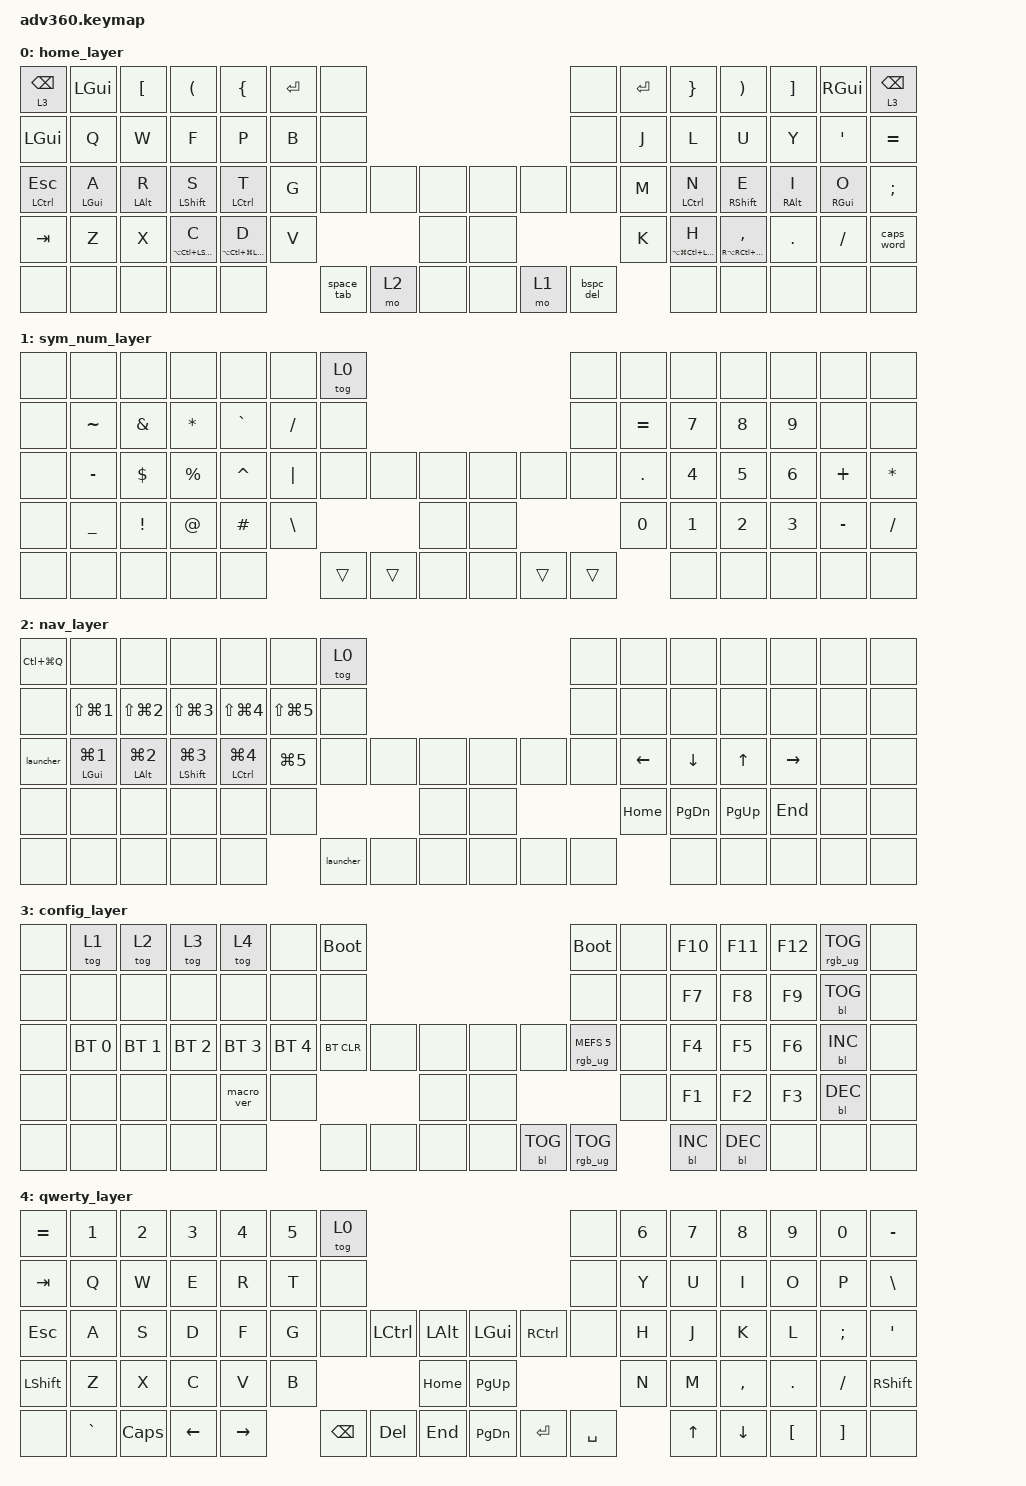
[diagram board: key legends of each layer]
#include <behaviors.dtsi>
#include <dt-bindings/zmk/backlight.h>
#include <dt-bindings/zmk/bt.h>
#include <dt-bindings/zmk/keys.h>
#include <dt-bindings/zmk/rgb.h>

/ {
    behaviors {
        #include "macros.dtsi"
      #include "version.dtsi"

        hm: homerow_mods {
            compatible = "zmk,behavior-hold-tap";
            label = "HOMEROW_MODS";
            #binding-cells = <2>;
            tapping-term-ms = <200>;
            quick_tap_ms = <175>;
            flavor = "tap-preferred";
            bindings = <&kp>, <&kp>;
        };

        space_tab: space_tab {
            compatible = "zmk,behavior-mod-morph";
            label = "SPACE_TAB";
            bindings = <&kp SPACE>, <&kp TAB>;

            #binding-cells = <0>;
            mods = <(MOD_LSFT|MOD_RSFT)>;
        };

        bspc_del: bspc_del {
            compatible = "zmk,behavior-mod-morph";
            label = "BSPC_DEL";
            bindings = <&kp BSPC>, <&kp DEL>;

            #binding-cells = <0>;
            mods = <(MOD_LSFT|MOD_RSFT)>;
        };
    };

    macros {
        launcher: launcher {
            compatible = "zmk,behavior-macro";
            #binding-cells = <0>;
            bindings = <&kp LG(SPACE)>;
            label = "LAUNCHER";
        };

        hyper: hyper {
            compatible = "zmk,behavior-macro";
            #binding-cells = <0>;
            bindings = <&kp LA(LC(LG(LEFT_SHIFT)))>;
            label = "HYPER";
        };
    };

    keymap {
        compatible = "zmk,keymap";

        home_layer {
            bindings = <
&lt 3 BACKSPACE          &kp LEFT_GUI    &kp LEFT_BRACKET  &kp LEFT_PARENTHESIS      &kp LEFT_BRACE                &kp ENTER  &none                                       &none      &kp ENTER  &kp RIGHT_BRACE               &kp RIGHT_PARENTHESIS          &kp RIGHT_BRACKET  &kp RIGHT_GUI    &lt 3 BACKSPACE
&kp LEFT_GUI             &kp Q           &kp W             &kp F                     &kp P                         &kp B      &none                                       &none      &kp J      &kp L                         &kp U                          &kp Y              &kp SQT          &kp EQUAL
&mt LEFT_CONTROL ESCAPE  &hm LEFT_GUI A  &hm LEFT_ALT R    &hm LEFT_SHIFT S          &hm LEFT_CONTROL T            &kp G      &none       &none  &none      &none  &none  &none      &kp M      &hm LEFT_CONTROL N            &hm RIGHT_SHIFT E              &hm RIGHT_ALT I    &hm RIGHT_GUI O  &kp SEMICOLON
&kp TAB                  &kp Z           &kp X             &hm LA(LC(LEFT_SHIFT)) C  &hm LA(LC(LG(LEFT_SHIFT))) D  &kp V                         &none      &none                    &kp K      &hm LA(LG(LC(LEFT_SHIFT))) H  &hm RA(RC(RIGHT_SHIFT)) COMMA  &kp DOT            &kp FSLH         &caps_word
&none                    &none           &none             &none                     &none                                    &space_tab  &mo 2  &none      &none  &mo 1  &bspc_del             &none                         &none                          &none              &none            &none
            >;
        };

        sym_num_layer {
            bindings = <
&none  &none           &none     &none      &none      &none          &tog 0                                    &none   &none      &none         &none   &none   &none      &none
&none  &kp TILDE       &kp AMPS  &kp STAR   &kp GRAVE  &kp SLASH      &none                                     &none   &kp EQUAL  &kp N7        &kp N8  &kp N9  &none      &none
&none  &kp MINUS       &kp DLLR  &kp PRCNT  &kp CARET  &kp PIPE       &none   &none   &none      &none  &none   &none   &kp DOT    &kp NUMBER_4  &kp N5  &kp N6  &kp PLUS   &kp ASTERISK
&none  &kp UNDERSCORE  &kp EXCL  &kp AT     &kp HASH   &kp BACKSLASH                  &none      &none                  &kp N0     &kp N1        &kp N2  &kp N3  &kp MINUS  &kp SLASH
&none  &none           &none     &none      &none                     &trans  &trans  &none      &none  &trans  &trans             &none         &none   &none   &none      &none
            >;
        };

        nav_layer {
            bindings = <
&kp LC(LG(Q))  &none                      &none                      &none                        &none                   &none           &tog 0                                     &none  &none           &none           &none         &none            &none  &none
&none          &kp LS(LG(N1))             &kp LS(LG(N2))             &kp LS(LG(N3))               &kp LS(LG(N4))          &kp LS(LG(N5))  &none                                      &none  &none           &none           &none         &none            &none  &none
&launcher      &hm LEFT_GUI LG(NUMBER_1)  &hm LEFT_ALT LG(NUMBER_2)  &hm LEFT_SHIFT LG(NUMBER_3)  &hm LCTRL LG(NUMBER_4)  &kp LG(N5)      &none      &none  &none      &none  &none  &none  &kp LEFT_ARROW  &kp DOWN_ARROW  &kp UP_ARROW  &kp RIGHT_ARROW  &none  &none
&none          &none                      &none                      &none                        &none                   &none                             &none      &none                &kp HOME        &kp PAGE_DOWN   &kp PAGE_UP   &kp END          &none  &none
&none          &none                      &none                      &none                        &none                                   &launcher  &none  &none      &none  &none  &none                  &none           &none         &none            &none  &none
            >;
        };

        config_layer {
            bindings = <
&none  &tog 1        &tog 2        &tog 3        &tog 4        &none         &bootloader                                       &bootloader             &none  &kp F10     &kp F11     &kp F12  &rgb_ug RGB_TOG  &none
&none  &none         &none         &none         &none         &none         &none                                             &none                   &none  &kp F7      &kp F8      &kp F9   &bl BL_TOG       &none
&none  &bt BT_SEL 0  &bt BT_SEL 1  &bt BT_SEL 2  &bt BT_SEL 3  &bt BT_SEL 4  &bt BT_CLR   &none  &none      &none  &none       &rgb_ug RGB_MEFS_CMD 5  &none  &kp F4      &kp F5      &kp F6   &bl BL_INC       &none
&none  &none         &none         &none         &macro_ver    &none                             &none      &none                                      &none  &kp F1      &kp F2      &kp F3   &bl BL_DEC       &none
&none  &none         &none         &none         &none                       &none        &none  &none      &none  &bl BL_TOG  &rgb_ug RGB_TOG                &bl BL_INC  &bl BL_DEC  &none    &none            &none
            >;
        };

        qwerty_layer {
            bindings = <
&kp EQUAL  &kp N1     &kp N2    &kp N3    &kp N4     &kp N5  &tog 0                                                   &none      &kp N6  &kp N7  &kp N8     &kp N9    &kp N0    &kp MINUS
&kp TAB    &kp Q      &kp W     &kp E     &kp R      &kp T   &none                                                    &none      &kp Y   &kp U   &kp I      &kp O     &kp P     &kp BSLH
&kp ESC    &kp A      &kp S     &kp D     &kp F      &kp G   &none     &kp LCTRL  &kp LALT      &kp LGUI   &kp RCTRL  &none      &kp H   &kp J   &kp K      &kp L     &kp SEMI  &kp SQT
&kp LSHFT  &kp Z      &kp X     &kp C     &kp V      &kp B                        &kp HOME      &kp PG_UP                        &kp N   &kp M   &kp COMMA  &kp DOT   &kp FSLH  &kp RSHFT
&none      &kp GRAVE  &kp CAPS  &kp LEFT  &kp RIGHT          &kp BSPC  &kp DEL    &kp END       &kp PG_DN  &kp ENTER  &kp SPACE          &kp UP  &kp DOWN   &kp LBKT  &kp RBKT  &none
            >;
        };
    };
};
